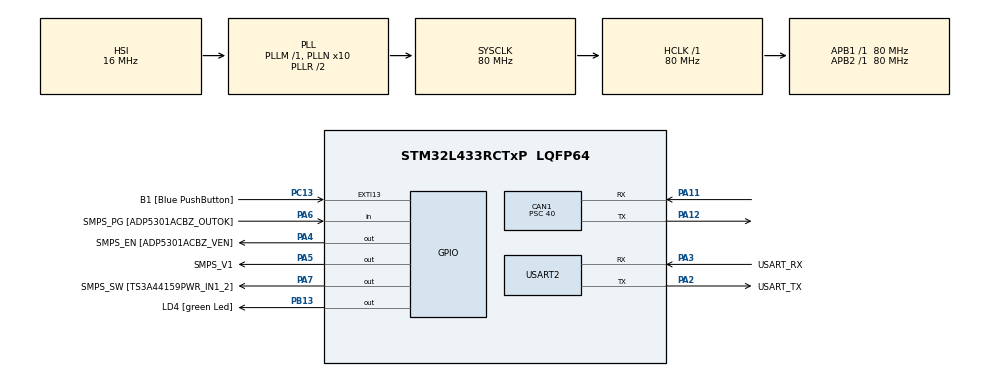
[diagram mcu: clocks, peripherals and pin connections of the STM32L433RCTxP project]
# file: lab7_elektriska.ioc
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CAN1.BS1=CAN_BS1_13TQ
CAN1.BS2=CAN_BS2_2TQ
CAN1.CalculateBaudRate=125000
CAN1.CalculateTimeBit=8000
CAN1.CalculateTimeQuantum=500.0
CAN1.Mode=CAN_MODE_LOOPBACK
CAN1.Prescaler=40
Mcu.Family=STM32L4
Mcu.Name=STM32L433RCTxP
Mcu.Package=LQFP64
NVIC.CAN1_RX0_IRQn=true\:0\:0\:false\:false\:true\:true\:true\:true
NVIC.PriorityGroup=NVIC_PRIORITYGROUP_4
PA11.Mode=CAN_Activate
PA11.Signal=CAN1_RX
PA12.Mode=CAN_Activate
PA12.Signal=CAN1_TX
PA13\ (JTMS-SWDIO).GPIO_Label=TMS
PA13\ (JTMS-SWDIO).Mode=Serial_Wire
PA13\ (JTMS-SWDIO).Signal=SYS_JTMS-SWDIO
PA14\ (JTCK-SWCLK).GPIO_Label=TCK
PA14\ (JTCK-SWCLK).Mode=Serial_Wire
PA14\ (JTCK-SWCLK).Signal=SYS_JTCK-SWCLK
PA2.GPIO_Label=USART_TX
PA2.GPIO_Mode=GPIO_MODE_AF_PP
PA2.GPIO_PuPd=GPIO_NOPULL
PA2.GPIO_Speed=GPIO_SPEED_FREQ_VERY_HIGH
PA2.Mode=Asynchronous
PA2.Signal=USART2_TX
PA3.GPIO_Label=USART_RX
PA3.GPIO_Mode=GPIO_MODE_AF_PP
PA3.GPIO_PuPd=GPIO_NOPULL
PA3.GPIO_Speed=GPIO_SPEED_FREQ_VERY_HIGH
PA3.Mode=Asynchronous
PA3.Signal=USART2_RX
PA4.GPIO_Label=SMPS_EN [ADP5301ACBZ_VEN]
PA4.Signal=GPIO_Output
PA5.GPIO_Label=SMPS_V1
PA5.GPIO_ModeDefaultOutputPP=GPIO_MODE_OUTPUT_PP
PA5.GPIO_PuPd=GPIO_NOPULL
PA5.GPIO_Speed=GPIO_SPEED_FREQ_LOW
PA5.Signal=GPIO_Output
PA6.GPIO_Label=SMPS_PG [ADP5301ACBZ_OUTOK]
PA6.GPIO_PuPd=GPIO_PULLUP
PA6.Signal=GPIO_Input
PA7.GPIO_Label=SMPS_SW [TS3A44159PWR_IN1_2]
PA7.Signal=GPIO_Output
PB13.GPIO_Label=LD4 [green Led]
PB13.Signal=GPIO_Output
PB3\ (JTDO-TRACESWO).GPIO_Label=SWO
PB3\ (JTDO-TRACESWO).Signal=SYS_JTDO-SWO
PC13.GPIO_Label=B1 [Blue PushButton]
PC13.GPIO_ModeDefaultEXTI=GPIO_MODE_IT_FALLING
PC13.GPIO_PuPd=GPIO_NOPULL
PC13.Signal=GPXTI13
PC14-OSC32_IN\ (PC14).Mode=LSE-External-Oscillator
PC14-OSC32_IN\ (PC14).Signal=RCC_OSC32_IN
PC15-OSC32_OUT\ (PC15).Mode=LSE-External-Oscillator
PC15-OSC32_OUT\ (PC15).Signal=RCC_OSC32_OUT
PH0-OSC_IN\ (PH0).GPIO_Label=MCO
PH0-OSC_IN\ (PH0).Mode=HSE-External-Clock-Source
PH0-OSC_IN\ (PH0).Signal=RCC_OSC_IN
PH1-OSC_OUT\ (PH1).Signal=RCC_OSC_OUT
ProjectManager.HeapSize=0x200
ProjectManager.StackSize=0x400
ProjectManager.TargetToolchain=STM32CubeIDE
RCC.ADCFreq_Value=64000000
RCC.AHBFreq_Value=80000000
RCC.APB1Freq_Value=80000000
RCC.APB1TimFreq_Value=80000000
RCC.APB2Freq_Value=80000000
RCC.APB2TimFreq_Value=80000000
RCC.CortexFreq_Value=80000000
RCC.HCLKFreq_Value=80000000
RCC.HSE_VALUE=8000000
RCC.HSI48_VALUE=48000000
RCC.HSI_VALUE=16000000
RCC.MSI_VALUE=4000000
RCC.PLLN=10
RCC.PLLSourceVirtual=RCC_PLLSOURCE_HSI
RCC.PREFETCH_ENABLE=1
RCC.SYSCLKFreq_VALUE=80000000
RCC.SYSCLKSource=RCC_SYSCLKSOURCE_PLLCLK
RCC.USBFreq_Value=64000000
RCC.VCOOutputFreq_Value=160000000
USART2.VirtualMode-Asynchronous=VM_ASYNC
board=NUCLEO-L433RC-P

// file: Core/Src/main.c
/* USER CODE BEGIN Header */
/**
 ******************************************************************************
 * @file           : main.c
 * @brief          : Main program body
 ******************************************************************************
 * @attention
 *
 * Copyright (c) 2026 STMicroelectronics.
 * All rights reserved.
 *
 * This software is licensed under terms that can be found in the LICENSE file
 * in the root directory of this software component.
 * If no LICENSE file comes with this software, it is provided AS-IS.
 *
 ******************************************************************************
 */
/* USER CODE END Header */
#include "main.h"

/* USER CODE BEGIN Includes */
#include <stdio.h>
#include "lab_can.h"
/* USER CODE END Includes */

CAN_HandleTypeDef hcan1;

UART_HandleTypeDef huart2;

void SystemClock_Config(void);
static void MX_GPIO_Init(void);
static void MX_USART2_UART_Init(void);
static void MX_CAN1_Init(void);

/* USER CODE BEGIN 0 */
int _write ( int file , char * ptr , int len ){
	HAL_UART_Transmit (& huart2 , ( uint8_t *) ptr , len , HAL_MAX_DELAY ) ;
	return len ;
}

void HAL_CAN_RxFifo0MsgPendingCallback( CAN_HandleTypeDef * hcan ){
	CAN_RxHeaderTypeDef rxHeader ;
	uint8_t rxData [8];
	HAL_CAN_GetRxMessage (& hcan1 , CAN_RX_FIFO0 , & rxHeader , rxData ) ;
	printf ( " RX id =0x %03lx data = " , rxHeader.StdId ) ;

	for ( int i =0; i < rxHeader.DLC ; i ++)
		printf ( " %02X " , rxData [ i ]) ;
	printf ( "\r\n" ) ;
}

void HAL_GPIO_EXTI_Callback(uint16_t GPIO_Pin ){
	if( GPIO_Pin == GPIO_PIN_13){
		LAB_CAN_SendArbLow ();
		//LAB_CAN_SendArbHigh();
	}
}
/* USER CODE END 0 */

int main(void)
{

	/* MCU Configuration--------------------------------------------------------*/

	/* Reset of all peripherals, Initializes the Flash interface and the Systick. */
	HAL_Init();

	/* Configure the system clock */
	SystemClock_Config();

	/* Initialize all configured peripherals */
	MX_GPIO_Init();
	MX_USART2_UART_Init();
	MX_CAN1_Init();
	/* USER CODE BEGIN 2 */

	LAB_CAN_PrintBanner () ;
	LAB_CAN_InitAndStart () ;

	HAL_CAN_Start(&hcan1);
	HAL_CAN_ActivateNotification(&hcan1, CAN_IT_RX_FIFO0_MSG_PENDING);

	printf("Welcome to CAN lab\r\n");

	/* USER CODE END 2 */

	/* Infinite loop */
	/* USER CODE BEGIN WHILE */
	while (1)
	{
		LAB_CAN_Periodic ();
		/* USER CODE END WHILE */

	}
}

void SystemClock_Config(void)
{
	RCC_OscInitTypeDef RCC_OscInitStruct = {0};
	RCC_ClkInitTypeDef RCC_ClkInitStruct = {0};

	/** Configure the main internal regulator output voltage
	 */
	if (HAL_PWREx_ControlVoltageScaling(PWR_REGULATOR_VOLTAGE_SCALE1) != HAL_OK)
	{
		Error_Handler();
	}

	/** Initializes the RCC Oscillators according to the specified parameters
	 * in the RCC_OscInitTypeDef structure.
	 */
	RCC_OscInitStruct.OscillatorType = RCC_OSCILLATORTYPE_HSI;
	RCC_OscInitStruct.HSIState = RCC_HSI_ON;
	RCC_OscInitStruct.HSICalibrationValue = RCC_HSICALIBRATION_DEFAULT;
	RCC_OscInitStruct.PLL.PLLState = RCC_PLL_ON;
	RCC_OscInitStruct.PLL.PLLSource = RCC_PLLSOURCE_HSI;
	RCC_OscInitStruct.PLL.PLLM = 1;
	RCC_OscInitStruct.PLL.PLLN = 10;
	RCC_OscInitStruct.PLL.PLLP = RCC_PLLP_DIV7;
	RCC_OscInitStruct.PLL.PLLQ = RCC_PLLQ_DIV2;
	RCC_OscInitStruct.PLL.PLLR = RCC_PLLR_DIV2;
	if (HAL_RCC_OscConfig(&RCC_OscInitStruct) != HAL_OK)
	{
		Error_Handler();
	}

	/** Initializes the CPU, AHB and APB buses clocks
	 */
	RCC_ClkInitStruct.ClockType = RCC_CLOCKTYPE_HCLK|RCC_CLOCKTYPE_SYSCLK
			|RCC_CLOCKTYPE_PCLK1|RCC_CLOCKTYPE_PCLK2;
	RCC_ClkInitStruct.SYSCLKSource = RCC_SYSCLKSOURCE_PLLCLK;
	RCC_ClkInitStruct.AHBCLKDivider = RCC_SYSCLK_DIV1;
	RCC_ClkInitStruct.APB1CLKDivider = RCC_HCLK_DIV1;
	RCC_ClkInitStruct.APB2CLKDivider = RCC_HCLK_DIV1;

	if (HAL_RCC_ClockConfig(&RCC_ClkInitStruct, FLASH_LATENCY_4) != HAL_OK)
	{
		Error_Handler();
	}
}

static void MX_CAN1_Init(void)
{

	hcan1.Instance = CAN1;
	hcan1.Init.Prescaler = 40;
	hcan1.Init.Mode = CAN_MODE_LOOPBACK;
	hcan1.Init.SyncJumpWidth = CAN_SJW_1TQ;
	hcan1.Init.TimeSeg1 = CAN_BS1_13TQ;
	hcan1.Init.TimeSeg2 = CAN_BS2_2TQ;
	hcan1.Init.TimeTriggeredMode = DISABLE;
	hcan1.Init.AutoBusOff = DISABLE;
	hcan1.Init.AutoWakeUp = DISABLE;
	hcan1.Init.AutoRetransmission = DISABLE;
	hcan1.Init.ReceiveFifoLocked = DISABLE;
	hcan1.Init.TransmitFifoPriority = DISABLE;
	if (HAL_CAN_Init(&hcan1) != HAL_OK)
	{
		Error_Handler();
	}

}

static void MX_USART2_UART_Init(void)
{

	huart2.Instance = USART2;
	huart2.Init.BaudRate = 115200;
	huart2.Init.WordLength = UART_WORDLENGTH_8B;
	huart2.Init.StopBits = UART_STOPBITS_1;
	huart2.Init.Parity = UART_PARITY_NONE;
	huart2.Init.Mode = UART_MODE_TX_RX;
	huart2.Init.HwFlowCtl = UART_HWCONTROL_NONE;
	huart2.Init.OverSampling = UART_OVERSAMPLING_16;
	huart2.Init.OneBitSampling = UART_ONE_BIT_SAMPLE_DISABLE;
	huart2.AdvancedInit.AdvFeatureInit = UART_ADVFEATURE_NO_INIT;
	if (HAL_UART_Init(&huart2) != HAL_OK)
	{
		Error_Handler();
	}

}

static void MX_GPIO_Init(void)
{
	GPIO_InitTypeDef GPIO_InitStruct = {0};

	/* GPIO Ports Clock Enable */
	__HAL_RCC_GPIOC_CLK_ENABLE();
	__HAL_RCC_GPIOH_CLK_ENABLE();
	__HAL_RCC_GPIOA_CLK_ENABLE();
	__HAL_RCC_GPIOB_CLK_ENABLE();

	/*Configure GPIO pin Output Level */
	HAL_GPIO_WritePin(GPIOA, SMPS_EN_Pin|SMPS_V1_Pin|SMPS_SW_Pin, GPIO_PIN_RESET);

	/*Configure GPIO pin Output Level */
	HAL_GPIO_WritePin(LD4_GPIO_Port, LD4_Pin, GPIO_PIN_RESET);

	/*Configure GPIO pin : B1_Pin */
	GPIO_InitStruct.Pin = B1_Pin;
	GPIO_InitStruct.Mode = GPIO_MODE_IT_FALLING;
	GPIO_InitStruct.Pull = GPIO_NOPULL;
	HAL_GPIO_Init(B1_GPIO_Port, &GPIO_InitStruct);

	/*Configure GPIO pins : SMPS_EN_Pin SMPS_V1_Pin SMPS_SW_Pin */
	GPIO_InitStruct.Pin = SMPS_EN_Pin|SMPS_V1_Pin|SMPS_SW_Pin;
	GPIO_InitStruct.Mode = GPIO_MODE_OUTPUT_PP;
	GPIO_InitStruct.Pull = GPIO_NOPULL;
	GPIO_InitStruct.Speed = GPIO_SPEED_FREQ_LOW;
	HAL_GPIO_Init(GPIOA, &GPIO_InitStruct);

	/*Configure GPIO pin : SMPS_PG_Pin */
	GPIO_InitStruct.Pin = SMPS_PG_Pin;
	GPIO_InitStruct.Mode = GPIO_MODE_INPUT;
	GPIO_InitStruct.Pull = GPIO_PULLUP;
	HAL_GPIO_Init(SMPS_PG_GPIO_Port, &GPIO_InitStruct);

	/*Configure GPIO pin : LD4_Pin */
	GPIO_InitStruct.Pin = LD4_Pin;
	GPIO_InitStruct.Mode = GPIO_MODE_OUTPUT_PP;
	GPIO_InitStruct.Pull = GPIO_NOPULL;
	GPIO_InitStruct.Speed = GPIO_SPEED_FREQ_LOW;
	HAL_GPIO_Init(LD4_GPIO_Port, &GPIO_InitStruct);

}

void Error_Handler(void)
{
	__disable_irq();
	while (1)
	{
	}
}
